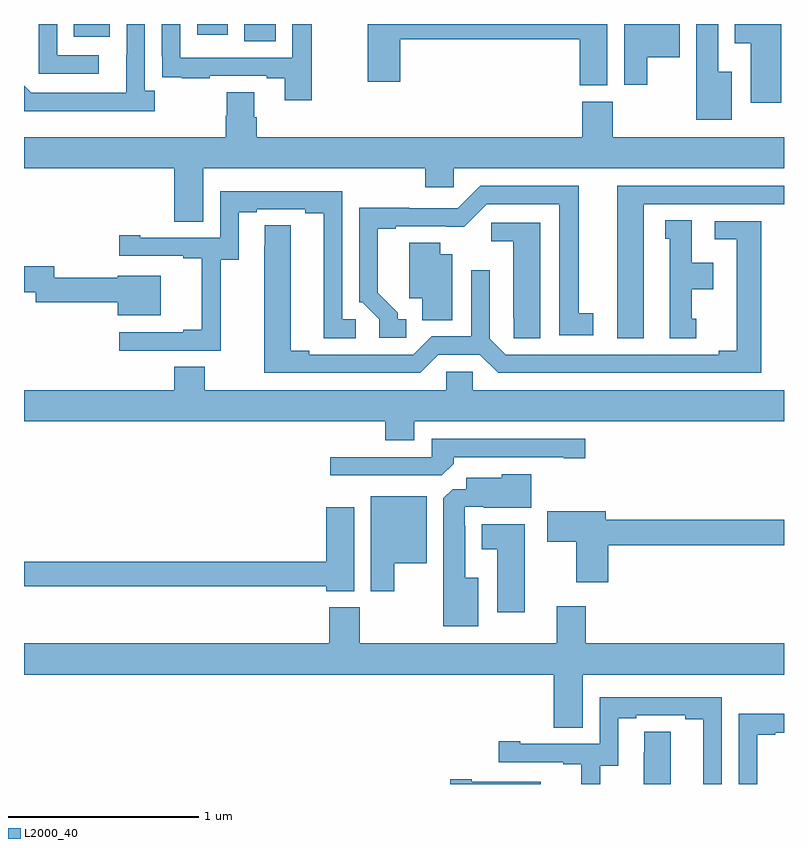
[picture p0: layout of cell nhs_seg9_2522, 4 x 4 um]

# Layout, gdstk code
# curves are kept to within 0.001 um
import gdstk
lib = gdstk.Library(unit=1e-6, precision=1e-09)
def R(c, l, rs):  # rectangles x0, y0, x1, y1
    for r in rs: c.add(gdstk.rectangle(r[:2], r[2:], *l))
def P(c, l, *ps):  # polygons
    for p in ps: c.add(gdstk.Polygon(p, *l))
L2000_40 = (2000, 40)

nhs_seg9_2522 = lib.new_cell('nhs_seg9_2522')
R(nhs_seg9_2522, L2000_40, [(256.16,1210.408,256.324,1210.5), (255.263,1210.433,255.451,1210.5), (255.911,1210.443,256.072,1210.5)])
P(nhs_seg9_2522, L2000_40, [(258.07,1210.5),(256.808,1210.5),(256.808,1210.197),(256.979,1210.197),(256.979,1210.42),(257.924,1210.42),(257.924,1210.177),(258.07,1210.177)],
  [(255.688,1210.15),(255.636,1210.15),(255.636,1210.5),(255.54,1210.5),(255.54,1210.337),(255.539,1210.337),(255.539,1210.137),(255.039,1210.137),(255,1210.176),(255,1210.04),(255.688,1210.04)],
  [(256.514,1210.5),(256.413,1210.5),(256.413,1210.323),(255.822,1210.323),(255.822,1210.5),(255.726,1210.5),(255.726,1210.33),(255.727,1210.33),(255.727,1210.221),(255.829,1210.221),(255.829,1210.215),(255.977,1210.215),(255.977,1210.227),(256.277,1210.227),(256.277,1210.215),(256.373,1210.215),(256.373,1210.098),(256.514,1210.098)],
  [(255.394,1210.335),(255.174,1210.335),(255.174,1210.5),(255.078,1210.5),(255.078,1210.239),(255.394,1210.239)],
  [(258.724,1210.249),(258.655,1210.249),(258.655,1210.5),(258.539,1210.5),(258.539,1209.995),(258.724,1209.995)],
  [(258.985,1210.5),(258.74,1210.5),(258.74,1210.4),(258.824,1210.4),(258.824,1210.086),(258.985,1210.086)],
  [(258.28,1210.325),(258.451,1210.325),(258.451,1210.5),(258.158,1210.5),(258.158,1210.179),(258.28,1210.179)],
  [(257.111,1209.642),(257.262,1209.642),(257.262,1209.74),(259,1209.74),(259,1209.904),(258.099,1209.904),(258.099,1210.092),(257.939,1210.092),(257.939,1209.904),(256.226,1209.904),(256.226,1210.01),(256.213,1210.01),(256.213,1210.142),(256.066,1210.142),(256.066,1210.017),(256.061,1210.017),(256.061,1209.904),(255,1209.904),(255,1209.74),(255.791,1209.74),(255.791,1209.46),(255.943,1209.46),(255.943,1209.74),(257.111,1209.74)],
  [(258.262,1209.552),(259,1209.552),(259,1209.648),(258.122,1209.648),(258.122,1208.847),(258.262,1208.847)],
  [(257.011,1208.946),(256.966,1208.946),(256.966,1208.981),(256.861,1209.086),(256.861,1209.423),(256.957,1209.423),(256.957,1209.435),(257.318,1209.434),(257.436,1209.552),(257.816,1209.552),(257.816,1208.862),(257.995,1208.862),(257.995,1208.978),(257.92,1208.978),(257.92,1209.648),(257.4,1209.648),(257.283,1209.531),(257.027,1209.531),(257.027,1209.533),(256.764,1209.533),(256.764,1209.036),(256.779,1209.036),(256.869,1208.946),(256.869,1208.85),(257.011,1208.85)],
  [(256.035,1209.259),(256.129,1209.259),(256.129,1209.51),(256.225,1209.51),(256.225,1209.525),(256.481,1209.525),(256.481,1209.505),(256.577,1209.505),(256.577,1208.845),(256.747,1208.845),(256.747,1208.946),(256.674,1208.946),(256.674,1209.621),(256.032,1209.621),(256.032,1209.375),(255.613,1209.375),(255.613,1209.388),(255.501,1209.388),(255.501,1209.279),(255.839,1209.279),(255.839,1209.267),(255.935,1209.267),(255.935,1208.89),(255.839,1208.89),(255.839,1208.877),(255.501,1208.877),(255.501,1208.781),(256.035,1208.781)],
  [(258.538,1208.949),(258.514,1208.949),(258.514,1209.104),(258.628,1209.104),(258.628,1209.244),(258.514,1209.244),(258.514,1209.467),(258.374,1209.467),(258.374,1209.369),(258.398,1209.369),(258.398,1208.847),(258.538,1208.847)],
  [(257.181,1208.76),(257.399,1208.76),(257.495,1208.664),(258.88,1208.664),(258.88,1209.462),(258.636,1209.462),(258.636,1209.366),(258.752,1209.366),(258.752,1208.78),(258.656,1208.78),(258.656,1208.76),(257.535,1208.76),(257.451,1208.844),(257.451,1209.205),(257.355,1209.205),(257.355,1208.856),(257.145,1208.856),(257.049,1208.76),(256.501,1208.76),(256.501,1208.78),(256.405,1208.78),(256.405,1209.44),(256.266,1209.44),(256.265,1208.664),(257.085,1208.664)],
  [(257.716,1209.453),(257.46,1209.453),(257.46,1209.356),(257.576,1209.356),(257.576,1208.953),(257.577,1208.953),(257.577,1208.845),(257.716,1208.845)],
  [(257.254,1209.289),(257.191,1209.289),(257.191,1209.35),(257.027,1209.35),(257.027,1209.056),(257.096,1209.056),(257.096,1208.941),(257.254,1208.941)],
  [(255.721,1209.175),(255.494,1209.175),(255.494,1209.164),(255.159,1209.164),(255.159,1209.224),(255,1209.224),(255,1209.088),(255.063,1209.088),(255.063,1209.036),(255.494,1209.036),(255.494,1208.966),(255.721,1208.966)],
  [(257.053,1208.408),(259,1208.408),(259,1208.572),(257.361,1208.572),(257.361,1208.67),(257.223,1208.67),(257.223,1208.572),(255.951,1208.572),(255.951,1208.696),(255.791,1208.696),(255.791,1208.572),(255,1208.572),(255,1208.408),(256.901,1208.408),(256.901,1208.309),(257.053,1208.309)],
  [(257.261,1208.186),(257.261,1208.22),(257.84,1208.22),(257.84,1208.215),(257.953,1208.215),(257.953,1208.316),(257.145,1208.316),(257.145,1208.22),(256.611,1208.22),(256.611,1208.124),(257.199,1208.124)],
  [(257.392,1207.585),(257.323,1207.585),(257.323,1207.859),(257.319,1207.859),(257.319,1207.959),(257.419,1207.959),(257.419,1207.955),(257.671,1207.955),(257.671,1208.131),(257.514,1208.131),(257.514,1208.113),(257.327,1208.113),(257.327,1208.052),(257.256,1208.052),(257.207,1208.003),(257.207,1207.331),(257.392,1207.331)],
  [(256.948,1207.661),(257.119,1207.661),(257.119,1208.014),(256.826,1208.014),(256.826,1207.515),(256.948,1207.515)],
  [(256.738,1207.957),(256.592,1207.957),(256.592,1207.67),(255,1207.67),(255,1207.542),(256.592,1207.542),(256.592,1207.514),(256.738,1207.514)],
  [(258.074,1207.756),(259,1207.756),(259,1207.892),(258.061,1207.892),(258.061,1207.936),(257.754,1207.936),(257.754,1207.774),(257.906,1207.774),(257.906,1207.563),(258.074,1207.563)],
  [(257.635,1207.867),(257.408,1207.867),(257.408,1207.736),(257.492,1207.736),(257.492,1207.404),(257.635,1207.404)],
  [(257.941,1207.076),(259,1207.076),(259,1207.24),(257.957,1207.24),(257.957,1207.435),(257.804,1207.435),(257.804,1207.24),(256.767,1207.24),(256.767,1207.429),(256.607,1207.429),(256.607,1207.24),(255,1207.24),(255,1207.076),(257.789,1207.076),(257.789,1206.796),(257.941,1206.796)],
  [(258.033,1206.595),(258.127,1206.595),(258.127,1206.846),(258.223,1206.846),(258.223,1206.861),(258.479,1206.861),(258.479,1206.841),(258.575,1206.841),(258.575,1206.5),(258.672,1206.5),(258.672,1206.957),(258.03,1206.957),(258.03,1206.711),(257.611,1206.711),(257.611,1206.724),(257.499,1206.724),(257.499,1206.615),(257.837,1206.615),(257.837,1206.603),(257.933,1206.603),(257.933,1206.5),(258.033,1206.5)],
  [(258.859,1206.759),(258.955,1206.759),(258.955,1206.771),(259,1206.771),(259,1206.869),(258.762,1206.869),(258.762,1206.5),(258.859,1206.5)],
  [(258.403,1206.776),(258.264,1206.776),(258.264,1206.668),(258.263,1206.668),(258.263,1206.5),(258.403,1206.5)],
  [(257.719,1206.511),(257.356,1206.511),(257.356,1206.524),(257.244,1206.524),(257.244,1206.5),(257.719,1206.5)])

lib.write_gds('nhs_seg9_2522.gds')
